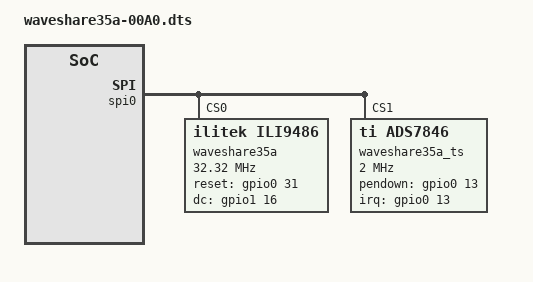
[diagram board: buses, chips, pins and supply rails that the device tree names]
/*
 * Based on waveshare35a-overlay.dts from
 * https://github.com/swkim01/waveshare-dtoverlays/blob/master/waveshare35a-overlay.dts
 * where it was posted without a license.
 *
 * Modifications for T2 on BBG by Dave Ackley, placed in the public domain.
 *
 */

/dts-v1/;
/plugin/;

/ {
	compatible = "ti,beaglebone", "ti,beaglebone-black";

	/* identification */
	part-number = "waveshare35a";
	version = "00A0";


	fragment@0 {
		target = <&spi0>;
		__overlay__ {
			status = "okay";

			spidev@0 {
				status = "disabled";
			};

			spidev@1 {
				status = "disabled";
			};
		};
	};

	fragment@1 {
		target = <&am33xx_pinmux>;
		__overlay__ {
			waveshare35a_pins: waveshare35a_pins {
				pinctrl-single,pins = <
//				        0x150 0x10      /* P9.22 spi0_sclk (PIN_OUTPUT_PULLUP | MUX_MODE0) */
//					0x158 0x30      /* P9.18 spi0_d1 (input) (PIN_INPUT_PULLUP | MUX_MODE0) */
//					0x154 0x10      /* P9.21 spi0_d0 (output) (PIN_OUTPUT_PULLUP | MUX_MODE0) */
//					0x15c 0x10      /* P9.17 spi0_cs0 (PIN_OUTPUT_PULLUP | MUX_MODE0) */
//					0x178 0x17      /* P9.20 TP_CS gpio0_12 gpio12 (PIN_OUTPUT_PULLUP | MUX_MODE7) */
				>;
			};

			lcd_ctrl_pins: lcd_ctrl_pins {
				pinctrl-single,pins = <
//					0x040 0x17	/* P9.15 DSP_DC gpio1_16 gpio48 (PIN_OUTPUT_PULLUP | MUX_MODE7) */
//					0x074 0x17	/* P9.13 DSP_RESET gpio0_31 gpio31 (PIN_OUTPUT_PULLUP | MUX_MODE7) */
//					0x17c 0x37	/* P9.19 TP_IRQ gpio0_13 gpio13 (PIN_INPUT_PULLUP  | MUX_MODE7) */
				>;
			};
		};
	};

	fragment@2 {
		target = <&spi0>;
		__overlay__ {
			/* needed to avoid dtc warning */
			#address-cells = <1>;
			#size-cells = <0>;

			ti,pindir-d0-out-d1-in = <1>; /* T2 uses d0 as out and d1 as in */

//			pinctrl-names = "default";
//			pinctrl-0 = <&waveshare35a_pins &lcd_ctrl_pins>;

			waveshare35a: waveshare35a@0 {
				compatible = "ilitek,ili9486";
				reg = <0>;

				spi-max-frequency = <32320000>;
				txbuflen = <32768>;
				rotate = <90>;
				bgr = <0>;
				fps = <15>;
				buswidth = <8>;
				regwidth = <16>;
				reset-gpios = <&gpio0 31 0>;
				dc-gpios = <&gpio1 16 0>;
				debug = <3>;

				init = <0x10000b0 0x00
				        0x1000011
					0x20000ff
					0x100003a 0x55
					0x1000036 0x28
					0x10000c2 0x44
					0x10000c5 0x00 0x00 0x00 0x00
					0x10000e0 0x0f 0x1f 0x1c 0x0c 0x0f 0x08 0x48 0x98 0x37 0x0a 0x13 0x04 0x11 0x0d 0x00
					0x10000e1 0x0f 0x32 0x2e 0x0b 0x0d 0x05 0x47 0x75 0x37 0x06 0x10 0x03 0x24 0x20 0x00
					0x10000e2 0x0f 0x32 0x2e 0x0b 0x0d 0x05 0x47 0x75 0x37 0x06 0x10 0x03 0x24 0x20 0x00
					/* piscreen -> waveshare35a */
					0x1000036 0x28
					0x1000011
					0x1000029>;
			};

			waveshare35a_ts: waveshare35a-ts@1 {
				compatible = "ti,ads7846";
				reg = <1>;

				spi-max-frequency = <2000000>;
				interrupts = <13 2>; /* high-to-low edge triggered */
				interrupt-parent = <&gpio0>;
				pendown-gpio = <&gpio0 13 0>;
				ti,x-plate-ohms = /bits/ 16 <60>;
				ti,pressure-max = /bits/ 16 <255>;
			};
		};
	};
	__overrides__ {
		speed =		<&waveshare35a>,"spi-max-frequency:0";
		txbuflen =	<&waveshare35a>,"txbuflen:0";
		rotate =	<&waveshare35a>,"rotate:0";
		fps =		<&waveshare35a>,"fps:0";
		bgr =		<&waveshare35a>,"bgr:0";
		debug =		<&waveshare35a>,"debug:0";
		swapxy =	<&waveshare35a_ts>,"ti,swap-xy?";
	};
};
